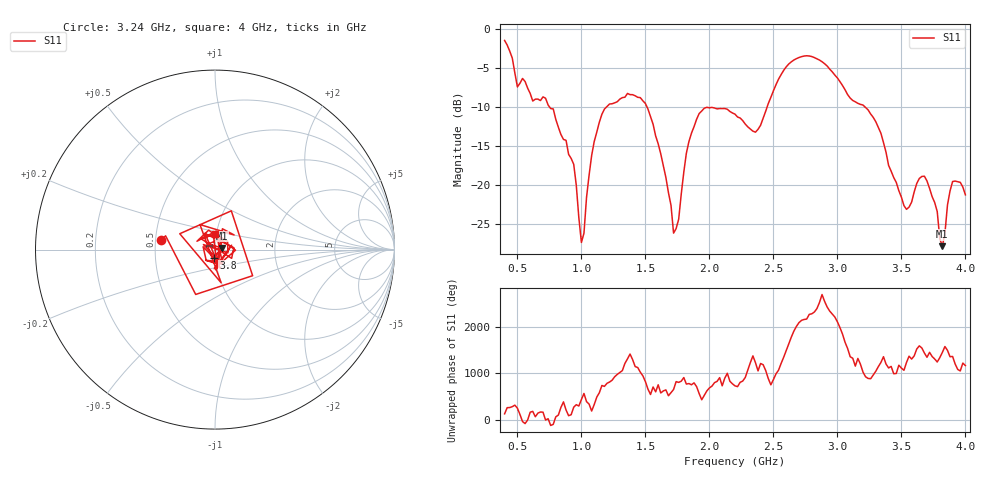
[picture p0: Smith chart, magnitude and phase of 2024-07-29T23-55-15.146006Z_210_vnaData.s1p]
!Created with skrf (http://scikit-rf.org).
# Hz S RI R 50.0
!freq ReS11 ImS11
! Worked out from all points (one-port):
!   181 points, 400 MHz to 4 GHz, reference 50 ohm
!   lowest |S11| = -27.8 dB at 3.82 GHz (marker M1), VSWR 1.09, Z = 54.1 + j0.983 ohm
!   |S11| at or under -10 dB: 752 MHz to 1.195 GHz (442.8 MHz wide, 45.5 % of centre); 1.513 GHz to 2.451 GHz (937.3 MHz wide, 47.3 % of centre); 3.217 GHz to end of sweep
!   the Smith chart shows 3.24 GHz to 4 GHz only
!   S11 on the Smith chart (normalised r, x): 3.24 GHz: 0.54, +0.06; 3.8 GHz: 0.98, -0.09; 4 GHz: 0.99, +0.17
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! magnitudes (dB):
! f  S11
! 400 MHz  -1.5
! 500 MHz  -7.4
! 720 MHz  -8.9
! 860 MHz  -14.1
! 940 MHz  -17.3
! 1 GHz  -27.3
! 1.08 GHz  -16.2
! 1.14 GHz  -11.9
! 1.3 GHz  -9.0
! 1.5 GHz  -9.5
! 1.62 GHz  -16.0
! 1.72 GHz  -26.1
! 1.76 GHz  -24.3
! 1.82 GHz  -15.9
! 1.92 GHz  -10.8
! 2.2 GHz  -10.9
! 2.36 GHz  -13.2
! 2.66 GHz  -4.0
! 2.88 GHz  -4.2
! 3.1 GHz  -8.8
! 3.24 GHz  -10.4
! 3.56 GHz  -22.8
! 3.68 GHz  -18.8
! 3.78 GHz  -23.3
! 3.8 GHz  -26.8
! 3.82 GHz  -27.8
! 3.9 GHz  -19.5
! 4 GHz  -21.2
